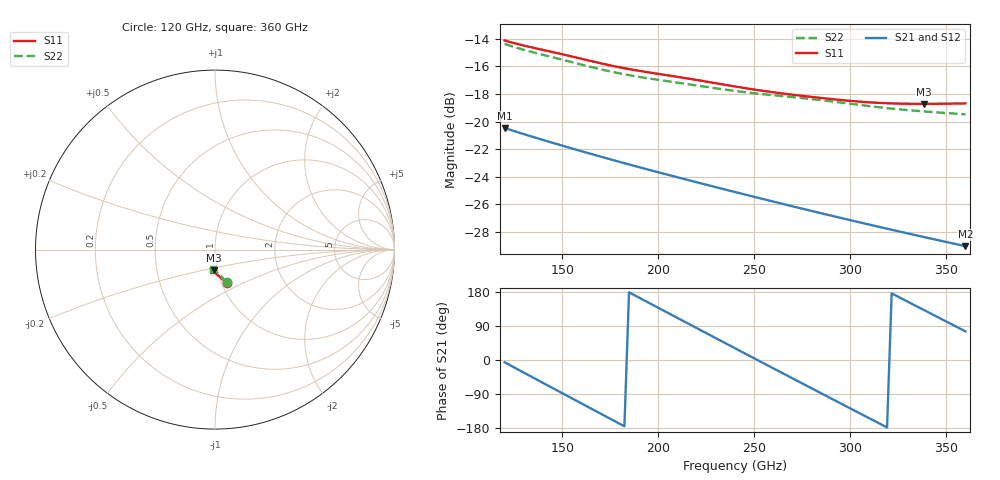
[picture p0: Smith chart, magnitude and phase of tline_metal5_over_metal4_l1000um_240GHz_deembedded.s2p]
! Created with skrf 2.2.0 (http://scikit-rf.org).
# GHz S DB R 50.0
! Port[1] = P1
! Port[2] = P2
!freq dBS11 angS11 dBS21 angS21 dBS12 angS12 dBS22 angS22
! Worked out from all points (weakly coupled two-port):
!   101 points, 120 GHz to 360 GHz, reference 50 ohm
!   highest |S21| = -20.46 dB at 120 GHz (marker M1); lowest = -29.0 dB at 360 GHz (marker M2)
!   lowest |S11| = -18.7 dB at 338.4 GHz (marker M3), VSWR 1.26, Z = 48 - j11.3 ohm
!   |S11| at or under -10 dB: start of sweep to end of sweep
!   |S22| runs from -19.5 to -14.4 dB; largest |S21 - S12| = 8.3e-14
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120  -14.12 -69.9  -20.46 -6.1  -20.46 -6.1  -14.37 -70.1
132  -14.55 -71.4  -20.99 -38.7  -20.99 -38.7  -14.87 -71.4
141.6  -14.85 -73.0  -21.39 -64.7  -21.39 -64.7  -15.21 -72.7
151.2  -15.15 -74.8  -21.78 -90.7  -21.78 -90.7  -15.55 -74.2
160.8  -15.47 -76.5  -22.17 -116.7  -22.17 -116.7  -15.89 -75.5
170.4  -15.78 -77.9  -22.55 -142.6  -22.55 -142.6  -16.22 -76.6
180  -16.06 -79.2  -22.92 -168.4  -22.92 -168.4  -16.50 -77.6
189.6  -16.30 -80.4  -23.28 165.8  -23.28 165.8  -16.74 -78.5
201.6  -16.57 -82.0  -23.72 133.6  -23.72 133.6  -17.00 -79.7
211.2  -16.78 -83.5  -24.07 107.9  -24.07 107.9  -17.20 -80.9
220.8  -16.99 -84.9  -24.42 82.2  -24.42 82.2  -17.39 -82.1
240  -17.45 -87.3  -25.10 31.0  -25.10 31.0  -17.77 -84.2
249.6  -17.66 -88.3  -25.43 5.5  -25.43 5.5  -17.93 -85.1
259.2  -17.85 -89.1  -25.77 -20.0  -25.77 -20.0  -18.07 -86.1
271.2  -18.07 -90.1  -26.17 -51.7  -26.17 -51.7  -18.24 -87.5
280.8  -18.22 -90.8  -26.50 -77.1  -26.50 -77.1  -18.38 -88.7
290.4  -18.36 -91.5  -26.82 -102.4  -26.82 -102.4  -18.53 -89.9
302.4  -18.52 -92.1  -27.21 -133.9  -27.21 -133.9  -18.74 -91.2
321.6  -18.68 -92.9  -27.83 175.8  -27.83 175.8  -19.05 -92.7
338.4  -18.71 -93.7  -28.36 131.9  -28.36 131.9  -19.26 -93.9
348  -18.70 -94.3  -28.66 106.9  -28.66 106.9  -19.35 -94.5
360  -18.68 -95.2  -29.02 75.6  -29.02 75.6  -19.47 -95.4
